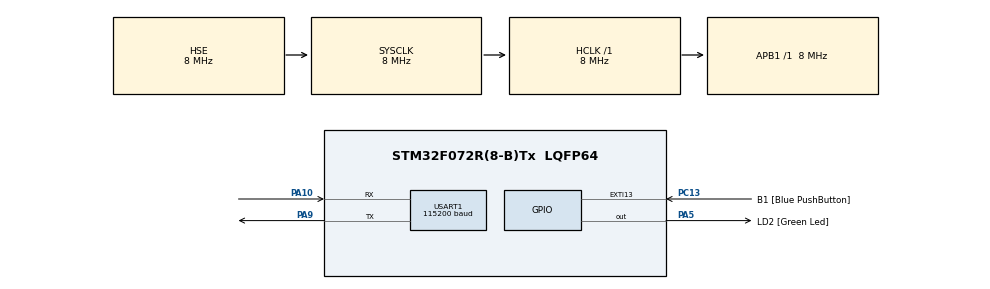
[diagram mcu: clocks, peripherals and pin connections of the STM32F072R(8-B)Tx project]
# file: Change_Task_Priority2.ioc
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Mcu.Family=STM32F0
Mcu.Name=STM32F072R(8-B)Tx
Mcu.Package=LQFP64
NVIC.EXTI4_15_IRQn=true\:0\:0\:false\:false\:true\:true\:true\:true
PA10.Mode=Asynchronous
PA10.Signal=USART1_RX
PA13.GPIO_Label=TMS
PA13.Mode=Serial_Wire
PA13.Signal=SYS_SWDIO
PA14.GPIO_Label=TCK
PA14.Mode=Serial_Wire
PA14.Signal=SYS_SWCLK
PA2.GPIO_Label=USART_TX
PA2.GPIO_Mode=GPIO_MODE_AF_PP
PA2.GPIO_PuPd=GPIO_NOPULL
PA2.GPIO_Speed=GPIO_SPEED_FREQ_LOW
PA2.Signal=USART2_TX
PA3.GPIO_Label=USART_RX
PA3.GPIO_Mode=GPIO_MODE_AF_PP
PA3.GPIO_PuPd=GPIO_NOPULL
PA3.GPIO_Speed=GPIO_SPEED_FREQ_LOW
PA3.Signal=USART2_RX
PA5.GPIO_Label=LD2 [Green Led]
PA5.GPIO_Mode=GPIO_MODE_OUTPUT_PP
PA5.GPIO_PuPd=GPIO_NOPULL
PA5.GPIO_Speed=GPIO_SPEED_FREQ_LOW
PA5.Signal=GPIO_Output
PA9.Mode=Asynchronous
PA9.Signal=USART1_TX
PC13.GPIO_Label=B1 [Blue PushButton]
PC13.GPIO_ModeDefaultEXTI=GPIO_MODE_IT_FALLING
PC13.Signal=GPXTI13
PC14-OSC32_IN.Signal=RCC_OSC32_IN
PC15-OSC32_OUT.Signal=RCC_OSC32_OUT
PF0-OSC_IN.Mode=HSE-External-Oscillator
PF0-OSC_IN.Signal=RCC_OSC_IN
PF1-OSC_OUT.Mode=HSE-External-Oscillator
PF1-OSC_OUT.Signal=RCC_OSC_OUT
ProjectManager.HeapSize=0x200
ProjectManager.StackSize=0x400
ProjectManager.TargetToolchain=STM32CubeIDE
RCC.AHBFreq_Value=8000000
RCC.APB1Freq_Value=8000000
RCC.APB1TimFreq_Value=8000000
RCC.FLatency-AdvancedSettings=FLASH_LATENCY_0
RCC.HCLKFreq_Value=8000000
RCC.PLLDivider=RCC_PREDIV_DIV2
RCC.PLLMUL=RCC_PLL_MUL12
RCC.PREFETCH_ENABLE-AdvancedSettings=1
RCC.SYSCLKFreq_VALUE=8000000
RCC.SYSCLKSource=RCC_SYSCLKSOURCE_HSE
USART1.BaudRate=115200
USART1.VirtualMode-Asynchronous=VM_ASYNC
board=NUCLEO-F072RB

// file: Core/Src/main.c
/* USER CODE BEGIN Header */
/**
  ******************************************************************************
  * @file           : main.c
  * @brief          : Main program body
  ******************************************************************************
  * @attention
  *
  * Copyright (c) 2024 STMicroelectronics.
  * All rights reserved.
  *
  * This software is licensed under terms that can be found in the LICENSE file
  * in the root directory of this software component.
  * If no LICENSE file comes with this software, it is provided AS-IS.
  *
  ******************************************************************************
  */
/* USER CODE END Header */
#include "main.h"

/* USER CODE BEGIN Includes */
#include "FreeRTOS.h"

#include "task.h"
#include "stdio.h"
#include "string.h"
/* USER CODE END Includes */

/* USER CODE BEGIN PTD */
TaskHandle_t myTask1Handler = NULL;
TaskHandle_t myTask2Handler = NULL;

uint8_t buttonState=0;
uint8_t myMessage[100]={0};

UBaseType_t current_priority1,current_priority2;
UBaseType_t p2_1,p2_2;
/* USER CODE END PTD */

UART_HandleTypeDef huart1;

void SystemClock_Config(void);
static void MX_GPIO_Init(void);
static void MX_USART1_UART_Init(void);
/* USER CODE BEGIN PFP */
void Task1_Handler(void *params);
void Task2_Handler(void *params);

/* USER CODE END PFP */

/* USER CODE BEGIN 0 */

void Task1_Handler(void *params)
{
	UBaseType_t current_priority1,current_priority2;

	sprintf((char*)myMessage,"Task_1 Running!\r\n");

	HAL_UART_Transmit(&huart1, myMessage, sizeof(myMessage), 1000);

	sprintf((char*)myMessage,"Task_1 Priority: %d\r\n",uxTaskPriorityGet(myTask1Handler));
		// Task_1 Priority: %d direkt 4 yazma, bırak uxTaskPriorityGet proirity neyse onu döndürür zaten
	HAL_UART_Transmit(&huart1, myMessage, sizeof(myMessage), 1000);

	sprintf((char*)myMessage,"Task_2 Priority: %d\r\n",uxTaskPriorityGet(myTask2Handler));
	HAL_UART_Transmit(&huart1, myMessage, sizeof(myMessage), 1000);

	for(;;)
	{
		if( buttonState == 1 )
		{
			buttonState=0;
			current_priority1 = uxTaskPriorityGet(myTask1Handler); // 4
			current_priority2 = uxTaskPriorityGet(myTask2Handler); // 2

			vTaskPrioritySet(myTask1Handler, current_priority2); // 2  öncelikleri değiştirdik
			vTaskPrioritySet(myTask2Handler,current_priority1);	//4

			current_priority1 = uxTaskPriorityGet(myTask1Handler); // 4
			current_priority2 = uxTaskPriorityGet(myTask2Handler); // 2

		}
	}

}

void Task2_Handler(void *params)
{

	UBaseType_t current_priority1,current_priority2;

	sprintf((char*)myMessage,"Task_2 Running!\r\n");
	HAL_UART_Transmit(&huart1, myMessage, sizeof(myMessage), 1000);

	sprintf((char*)myMessage,"Task_1 Priority: %d\r\n",uxTaskPriorityGet(myTask1Handler));
		// Task_1 Priority: %d direkt 4 yazma, bırak uxTaskPriorityGet proirity neyse onu döndürür zaten
	HAL_UART_Transmit(&huart1, myMessage, sizeof(myMessage), 1000);

	sprintf((char*)myMessage,"Task_2 Priority: %d\r\n",uxTaskPriorityGet(myTask2Handler));
	HAL_UART_Transmit(&huart1, myMessage, sizeof(myMessage), 1000);

	for(;;)
	{
		if(buttonState == 1)
		{
			buttonState=0;

			current_priority1 = uxTaskPriorityGet(myTask1Handler); // 4
			current_priority2 = uxTaskPriorityGet(myTask2Handler); // 2

			vTaskPrioritySet(myTask1Handler, current_priority2); // 2  öncelikleri değiştirdik
			vTaskPrioritySet(myTask2Handler,current_priority1);	//4
		}
	}

}

/* USER CODE END 0 */

int main(void)
{

  /* MCU Configuration--------------------------------------------------------*/

  /* Reset of all peripherals, Initializes the Flash interface and the Systick. */
  HAL_Init();

  /* Configure the system clock */
  SystemClock_Config();

  /* Initialize all configured peripherals */
  MX_GPIO_Init();
  MX_USART1_UART_Init();
  /* USER CODE BEGIN 2 */

  // NOT : Bu xTaskCreate de size ı configmin... yapınca task2 ye geçmedi bunu 120 yapınca task2 ye geçti
  // buton arktan dolayı sert basınca oluyo haberin olsun

  xTaskCreate(Task1_Handler, "Task_1", 120, NULL, 4, &myTask1Handler);

  xTaskCreate(Task2_Handler, "Task_2", 120, NULL, 2, &myTask2Handler);

  vTaskStartScheduler();
  /* USER CODE END 2 */

  /* Infinite loop */
  while (1)
  {

  }
}

void SystemClock_Config(void)
{
  RCC_OscInitTypeDef RCC_OscInitStruct = {0};
  RCC_ClkInitTypeDef RCC_ClkInitStruct = {0};
  RCC_PeriphCLKInitTypeDef PeriphClkInit = {0};

  /** Initializes the RCC Oscillators according to the specified parameters
  * in the RCC_OscInitTypeDef structure.
  */
  RCC_OscInitStruct.OscillatorType = RCC_OSCILLATORTYPE_HSE;
  RCC_OscInitStruct.HSEState = RCC_HSE_ON;
  RCC_OscInitStruct.PLL.PLLState = RCC_PLL_NONE;
  if (HAL_RCC_OscConfig(&RCC_OscInitStruct) != HAL_OK)
  {
    Error_Handler();
  }

  /** Initializes the CPU, AHB and APB buses clocks
  */
  RCC_ClkInitStruct.ClockType = RCC_CLOCKTYPE_HCLK|RCC_CLOCKTYPE_SYSCLK
                              |RCC_CLOCKTYPE_PCLK1;
  RCC_ClkInitStruct.SYSCLKSource = RCC_SYSCLKSOURCE_HSE;
  RCC_ClkInitStruct.AHBCLKDivider = RCC_SYSCLK_DIV1;
  RCC_ClkInitStruct.APB1CLKDivider = RCC_HCLK_DIV1;

  if (HAL_RCC_ClockConfig(&RCC_ClkInitStruct, FLASH_LATENCY_0) != HAL_OK)
  {
    Error_Handler();
  }
  PeriphClkInit.PeriphClockSelection = RCC_PERIPHCLK_USART1;
  PeriphClkInit.Usart1ClockSelection = RCC_USART1CLKSOURCE_PCLK1;
  if (HAL_RCCEx_PeriphCLKConfig(&PeriphClkInit) != HAL_OK)
  {
    Error_Handler();
  }
}

static void MX_USART1_UART_Init(void)
{

  huart1.Instance = USART1;
  huart1.Init.BaudRate = 115200;
  huart1.Init.WordLength = UART_WORDLENGTH_8B;
  huart1.Init.StopBits = UART_STOPBITS_1;
  huart1.Init.Parity = UART_PARITY_NONE;
  huart1.Init.Mode = UART_MODE_TX_RX;
  huart1.Init.HwFlowCtl = UART_HWCONTROL_NONE;
  huart1.Init.OverSampling = UART_OVERSAMPLING_16;
  huart1.Init.OneBitSampling = UART_ONE_BIT_SAMPLE_DISABLE;
  huart1.AdvancedInit.AdvFeatureInit = UART_ADVFEATURE_NO_INIT;
  if (HAL_UART_Init(&huart1) != HAL_OK)
  {
    Error_Handler();
  }

}

static void MX_GPIO_Init(void)
{
  GPIO_InitTypeDef GPIO_InitStruct = {0};

  /* GPIO Ports Clock Enable */
  __HAL_RCC_GPIOC_CLK_ENABLE();
  __HAL_RCC_GPIOF_CLK_ENABLE();
  __HAL_RCC_GPIOA_CLK_ENABLE();

  /*Configure GPIO pin Output Level */
  HAL_GPIO_WritePin(LD2_GPIO_Port, LD2_Pin, GPIO_PIN_RESET);

  /*Configure GPIO pin : B1_Pin */
  GPIO_InitStruct.Pin = B1_Pin;
  GPIO_InitStruct.Mode = GPIO_MODE_IT_FALLING;
  GPIO_InitStruct.Pull = GPIO_NOPULL;
  HAL_GPIO_Init(B1_GPIO_Port, &GPIO_InitStruct);

  /*Configure GPIO pins : USART_TX_Pin USART_RX_Pin */
  GPIO_InitStruct.Pin = USART_TX_Pin|USART_RX_Pin;
  GPIO_InitStruct.Mode = GPIO_MODE_AF_PP;
  GPIO_InitStruct.Pull = GPIO_NOPULL;
  GPIO_InitStruct.Speed = GPIO_SPEED_FREQ_LOW;
  GPIO_InitStruct.Alternate = GPIO_AF1_USART2;
  HAL_GPIO_Init(GPIOA, &GPIO_InitStruct);

  /*Configure GPIO pin : LD2_Pin */
  GPIO_InitStruct.Pin = LD2_Pin;
  GPIO_InitStruct.Mode = GPIO_MODE_OUTPUT_PP;
  GPIO_InitStruct.Pull = GPIO_NOPULL;
  GPIO_InitStruct.Speed = GPIO_SPEED_FREQ_LOW;
  HAL_GPIO_Init(LD2_GPIO_Port, &GPIO_InitStruct);

  /* EXTI interrupt init*/
  HAL_NVIC_SetPriority(EXTI4_15_IRQn, 0, 0);
  HAL_NVIC_EnableIRQ(EXTI4_15_IRQn);

}

void Error_Handler(void)
{
  __disable_irq();
  while (1)
  {
  }
}
